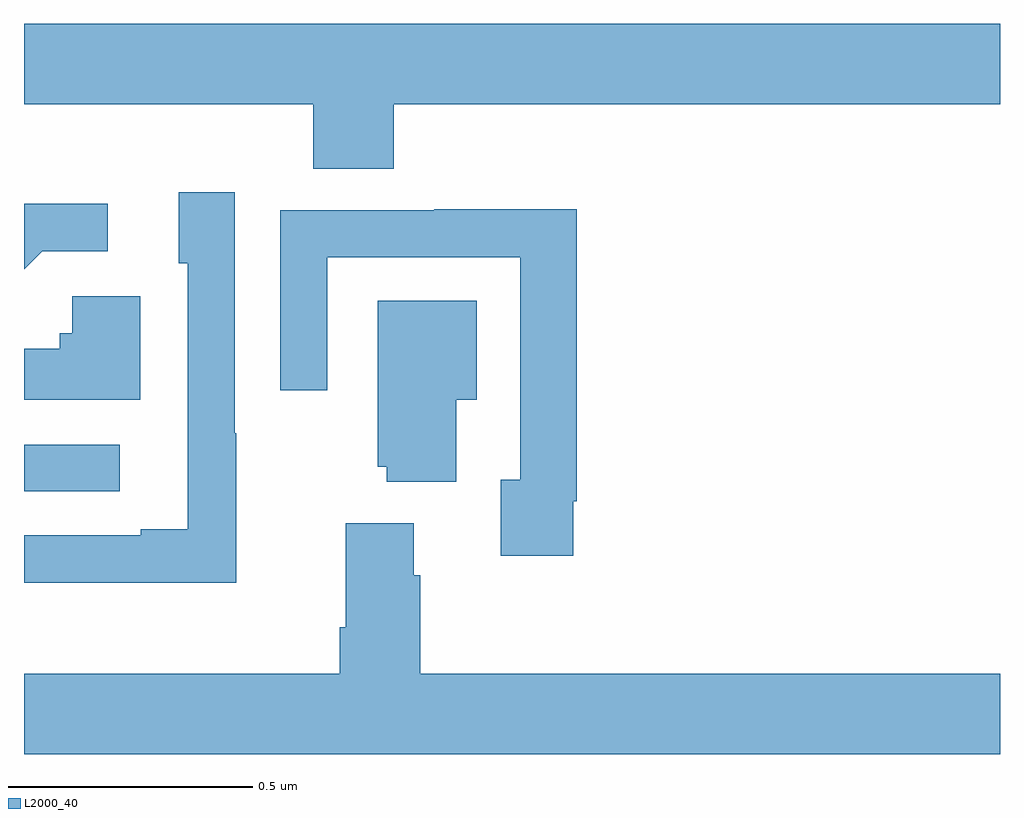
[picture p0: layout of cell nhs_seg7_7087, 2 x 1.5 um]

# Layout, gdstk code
import gdstk
lib = gdstk.Library(unit=1e-6, precision=1e-09)
def R(c, l, rs):  # rectangles x0, y0, x1, y1
    for r in rs: c.add(gdstk.rectangle(r[:2], r[2:], *l))
def P(c, l, *ps):  # polygons
    for p in ps: c.add(gdstk.Polygon(p, *l))
L2000_40 = (2000, 40)

nhs_seg7_7087 = lib.new_cell('nhs_seg7_7087')
R(nhs_seg7_7087, L2000_40, [(207,999.822,207.196,999.918)])
P(nhs_seg7_7087, L2000_40, [(207.758,1000.616),(209,1000.616),(209,1000.78),(207,1000.78),(207,1000.616),(207.593,1000.616),(207.593,1000.483),(207.758,1000.483)],
  [(207.435,999.941),(207.432,999.941),(207.432,1000.435),(207.317,1000.435),(207.317,1000.29),(207.336,1000.29),(207.336,999.745),(207.239,999.745),(207.239,999.732),(207,999.732),(207,999.635),(207.435,999.635)],
  [(207.037,1000.314),(207.172,1000.314),(207.172,1000.412),(207,1000.412),(207,1000.277)],
  [(208.126,999.802),(208.133,999.802),(208.133,1000.4),(207.841,1000.4),(207.841,1000.398),(207.525,1000.398),(207.525,1000.029),(207.621,1000.029),(207.621,1000.302),(208.017,1000.302),(208.017,999.846),(207.977,999.846),(207.977,999.69),(208.126,999.69)],
  [(207.238,1000.222),(207.099,1000.222),(207.099,1000.146),(207.073,1000.146),(207.073,1000.114),(207,1000.114),(207,1000.01),(207.238,1000.01)],
  [(207.886,1000.01),(207.928,1000.01),(207.928,1000.213),(207.725,1000.213),(207.725,999.873),(207.743,999.873),(207.743,999.842),(207.886,999.842)],
  [(207.799,999.65),(207.799,999.757),(207.659,999.757),(207.659,999.544),(207.647,999.544),(207.647,999.448),(207,999.448),(207,999.284),(209,999.284),(209,999.448),(207.812,999.448),(207.812,999.65)])

lib.write_gds('nhs_seg7_7087.gds')
